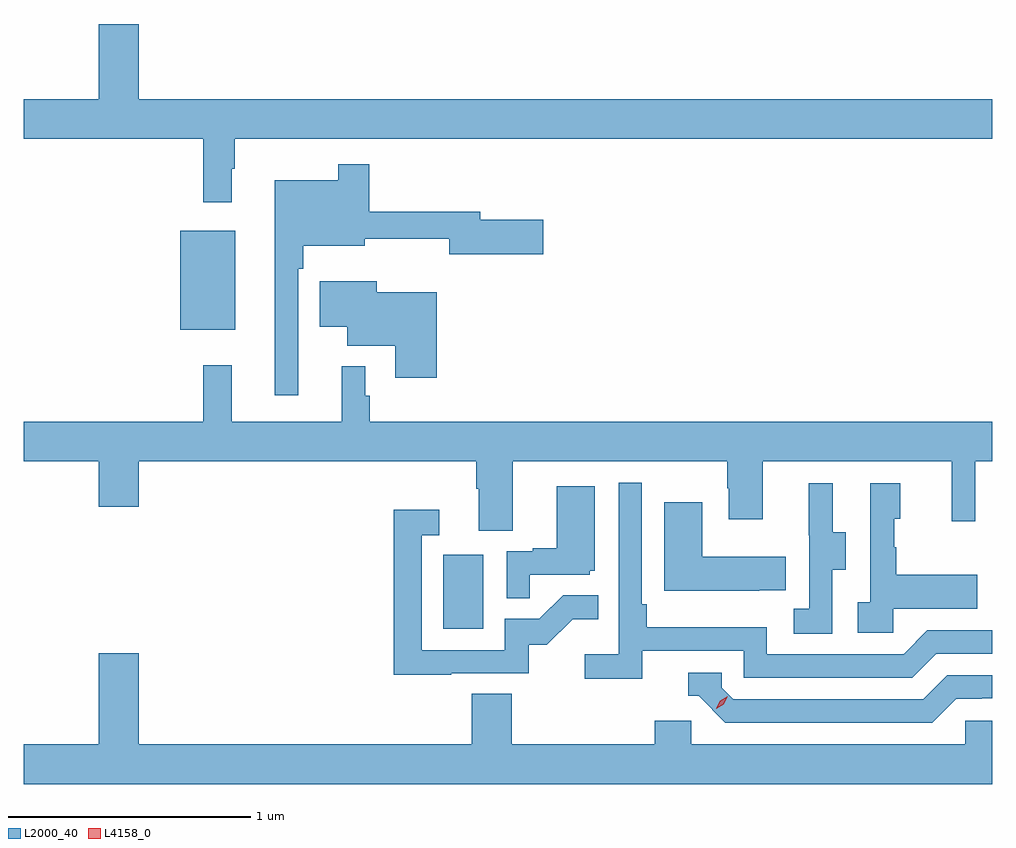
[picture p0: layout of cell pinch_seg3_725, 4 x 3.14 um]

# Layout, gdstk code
import gdstk
lib = gdstk.Library(unit=1e-6, precision=1e-09)
def R(c, l, rs):  # rectangles x0, y0, x1, y1
    for r in rs: c.add(gdstk.rectangle(r[:2], r[2:], *l))
def P(c, l, *ps):  # polygons
    for p in ps: c.add(gdstk.Polygon(p, *l))
L2000_40 = (2000, 40)
L4158_0 = (4158, 0)

pinch_seg3_725 = lib.new_cell('pinch_seg3_725')
R(pinch_seg3_725, L2000_40, [(885.71,744.18,885.874,744.487), (884.624,745.415,884.851,745.825)])
P(pinch_seg3_725, L2000_40, [(884.836,746.081),(884.848,746.081),(884.848,746.204),(887.977,746.204),(887.977,746.368),(884.452,746.368),(884.452,746.678),(884.288,746.678),(884.288,746.368),(883.977,746.368),(883.977,746.204),(884.719,746.204),(884.719,745.941),(884.836,745.941)],
  [(885.111,745.667),(885.131,745.667),(885.131,745.763),(885.385,745.763),(885.385,745.792),(885.734,745.792),(885.734,745.727),(886.123,745.727),(886.123,745.869),(885.862,745.869),(885.862,745.903),(885.404,745.903),(885.404,746.098),(885.276,746.098),(885.276,746.032),(885.014,746.032),(885.014,745.146),(885.111,745.146)],
  [(885.683,745.57),(885.436,745.57),(885.436,745.615),(885.2,745.615),(885.2,745.427),(885.314,745.427),(885.314,745.349),(885.512,745.349),(885.512,745.218),(885.683,745.218)],
  [(885.997,744.872),(886.882,744.872),(886.882,744.761),(886.889,744.761),(886.889,744.633),(887.029,744.633),(887.029,744.872),(887.81,744.872),(887.81,744.624),(887.907,744.624),(887.907,744.872),(887.977,744.872),(887.977,745.036),(885.407,745.036),(885.407,745.143),(885.387,745.143),(885.387,745.264),(885.29,745.264),(885.29,745.036),(884.837,745.036),(884.837,745.27),(884.719,745.27),(884.719,745.036),(883.977,745.036),(883.977,744.872),(884.288,744.872),(884.288,744.684),(884.452,744.684),(884.452,744.872),(885.845,744.872),(885.845,744.76),(885.857,744.76),(885.857,744.586),(885.997,744.586)],
  [(886.532,744.09),(886.95,744.09),(886.95,743.979),(887.647,743.979),(887.746,744.078),(887.977,744.078),(887.977,744.174),(887.709,744.174),(887.61,744.075),(887.046,744.075),(887.046,744.187),(886.55,744.187),(886.55,744.283),(886.53,744.283),(886.53,744.784),(886.434,744.784),(886.434,744.076),(886.293,744.076),(886.293,743.974),(886.532,743.974)],
  [(887.568,744.263),(887.915,744.263),(887.915,744.403),(887.581,744.403),(887.581,744.518),(887.571,744.518),(887.571,744.636),(887.596,744.636),(887.596,744.781),(887.472,744.781),(887.472,744.29),(887.421,744.29),(887.421,744.165),(887.568,744.165)],
  [(887.316,744.424),(887.371,744.424),(887.371,744.579),(887.317,744.579),(887.317,744.781),(887.219,744.781),(887.219,744.567),(887.22,744.567),(887.22,744.263),(887.157,744.263),(887.157,744.16),(887.316,744.16)],
  [(886.067,744.405),(886.314,744.405),(886.314,744.42),(886.336,744.42),(886.336,744.769),(886.178,744.769),(886.178,744.514),(886.079,744.514),(886.079,744.501),(885.972,744.501),(885.972,744.307),(886.067,744.307)],
  [(887.015,744.341),(887.123,744.341),(887.123,744.478),(886.78,744.478),(886.78,744.703),(886.622,744.703),(886.622,744.338),(887.015,744.338)],
  [(885.743,743.997),(886.062,743.997),(886.062,744.114),(886.138,744.114),(886.245,744.221),(886.349,744.221),(886.349,744.32),(886.205,744.32),(886.107,744.222),(885.963,744.222),(885.963,744.093),(885.621,744.093),(885.621,744.567),(885.694,744.567),(885.694,744.673),(885.505,744.673),(885.505,743.992),(885.743,743.992)],
  [(887.977,743.802),(887.865,743.802),(887.865,743.704),(886.734,743.704),(886.734,743.802),(886.583,743.802),(886.583,743.704),(885.992,743.704),(885.992,743.912),(885.827,743.912),(885.827,743.704),(884.452,743.704),(884.452,744.079),(884.288,744.079),(884.288,743.704),(883.977,743.704),(883.977,743.54),(887.977,743.54)],
  [(887.827,743.892),(887.934,743.892),(887.934,743.895),(887.977,743.895),(887.977,743.988),(887.79,743.988),(887.691,743.889),(886.908,743.889),(886.86,743.937),(886.86,744),(886.721,744),(886.721,743.904),(886.764,743.904),(886.875,743.793),(887.728,743.793)])
P(pinch_seg3_725, L4158_0, [(886.836,743.851),(886.836,743.852),(886.853,743.884),(886.884,743.903),(886.884,743.903),(886.884,743.902),(886.868,743.87),(886.837,743.851)])

lib.write_gds('pinch_seg3_725.gds')
